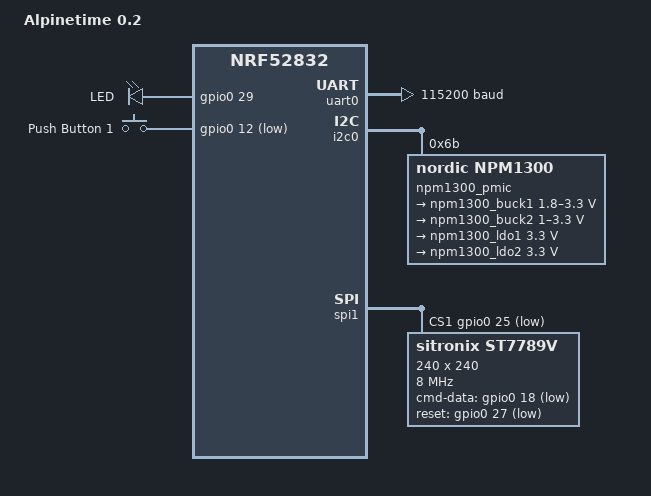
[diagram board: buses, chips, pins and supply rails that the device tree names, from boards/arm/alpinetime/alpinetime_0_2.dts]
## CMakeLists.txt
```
# SPDX-License-Identifier: Apache-2.0

cmake_minimum_required(VERSION 3.20.0)
list(APPEND BOARD_ROOT ${CMAKE_CURRENT_SOURCE_DIR})
find_package(Zephyr REQUIRED HINTS $ENV{ZEPHYR_BASE})
project(lvgl)

FILE(GLOB app_sources src/*.c)
target_sources(app PRIVATE ${app_sources})
```

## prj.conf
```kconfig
CONFIG_LV_Z_MEM_POOL_SIZE=16384
CONFIG_LV_Z_SHELL=y
CONFIG_MAIN_STACK_SIZE=2048

CONFIG_DISPLAY=y
CONFIG_DISPLAY_LOG_LEVEL_ERR=y

CONFIG_LOG=y
CONFIG_SHELL=y

CONFIG_LVGL=y
CONFIG_LV_MEM_CUSTOM=y
CONFIG_LV_USE_LOG=y
CONFIG_LV_USE_LABEL=y
CONFIG_LV_USE_BTN=y
CONFIG_LV_USE_ARC=y
CONFIG_LV_USE_IMG=y
CONFIG_LV_USE_MONKEY=y
CONFIG_LV_FONT_MONTSERRAT_14=y

CONFIG_I2C=y
CONFIG_GPIO=y
CONFIG_REGULATOR=y
CONFIG_REGULATOR_NPM1300=y
```

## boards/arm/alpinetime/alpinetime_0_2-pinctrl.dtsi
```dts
&pinctrl {
	uart0_default: uart0_default {
		group1 {
			psels = <NRF_PSEL(UART_TX, 0, 20)>,
				<NRF_PSEL(UART_RX, 0, 22)>;
		};
	};

	uart0_sleep: uart0_sleep {
		group1 {
			psels = <NRF_PSEL(UART_TX, 0, 20)>,
				<NRF_PSEL(UART_RX, 0, 22)>;
			low-power-enable;
		};
	};

	i2c0_default: i2c0_default {
		group1 {
			psels = <NRF_PSEL(TWIM_SDA, 0, 6)>,
				<NRF_PSEL(TWIM_SCL, 0, 7)>;
		};
	};

	i2c0_sleep: i2c0_sleep {
		group1 {
			psels = <NRF_PSEL(TWIM_SDA, 0, 6)>,
				<NRF_PSEL(TWIM_SCL, 0, 7)>;
			low-power-enable;
		};
	};

	spi1_default: spi1_default {
		group1 {
			psels = <NRF_PSEL(SPIM_SCK, 0, 2)>,
				<NRF_PSEL(SPIM_MOSI, 0, 3)>,
				<NRF_PSEL(SPIM_MISO, 0, 4)>;
		};
	};

	spi1_sleep: spi1_sleep {
		group1 {
			psels = <NRF_PSEL(SPIM_SCK, 0, 2)>,
				<NRF_PSEL(SPIM_MOSI, 0, 3)>,
				<NRF_PSEL(SPIM_MISO, 0, 4)>;
			low-power-enable;
		};
	};
};
```

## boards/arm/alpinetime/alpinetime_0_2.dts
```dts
/dts-v1/;
#include <nordic/nrf52832_qfaa.dtsi>
#include <dt-bindings/regulator/npm1300.h>
#include "alpinetime_0_2-pinctrl.dtsi"
#include <zephyr/dt-bindings/input/input-event-codes.h>

/ {
	model = "Alpinetime 0.2";
	compatible = "oshw,alpinetime_0_2";

	chosen {
		zephyr,console = &uart0;
		zephyr,shell-uart = &uart0;
		zephyr,bt-mon-uart = &uart0;
		zephyr,bt-c2h-uart = &uart0;
		zephyr,sram = &sram0;
		zephyr,flash = &flash0;
		zephyr,code-partition = &slot0_partition;
		zephyr,display = &st7789v;
	};

	leds {
		compatible = "gpio-leds";
		led0: led_0 {
			gpios = <&gpio0 29 0>;
			label = "LED";
		};
	};

	buttons {
		compatible = "gpio-keys";
		button0: button_0 {
			gpios = <&gpio0 12 (GPIO_PULL_UP | GPIO_ACTIVE_LOW)>;
			label = "Push Button 1";
			zephyr,code = <INPUT_KEY_0>;
		};
	};

	aliases {
		led0 = &led0;
		sw0 = &button0;
		bootloader-led0 = &led0;
		mcuboot-button0 = &button0;
		mcuboot-led0 = &led0;
	};
};

&gpiote {
	status = "okay";
};

&gpio0 {
	status = "okay";
};

&uart0 {
	compatible = "nordic,nrf-uart";
	current-speed = <115200>;
	status = "okay";
	pinctrl-0 = <&uart0_default>;
	pinctrl-1 = <&uart0_sleep>;
	pinctrl-names = "default", "sleep";
};

&i2c0 {
	compatible = "nordic,nrf-twim";
	status = "okay";
	pinctrl-0 = <&i2c0_default>;
	pinctrl-1 = <&i2c0_sleep>;
	pinctrl-names = "default", "sleep";

	npm1300_pmic: pmic@6b {
		compatible = "nordic,npm1300";
		reg = <0x6b>;

		npm1300_regulators: regulators {
			compatible = "nordic,npm1300-regulator";

			/* limits are set to min/max allowed values */
			npm1300_buck1: BUCK1 {
				regulator-min-microvolt = <1800000>;
				regulator-max-microvolt = <3300000>;
				regulator-init-microvolt = <1800000>;
				regulator-always-on;
			};

			npm1300_buck2: BUCK2 {
				regulator-min-microvolt = <1000000>;
				regulator-max-microvolt = <3300000>;
				regulator-init-microvolt = <2800000>;
				retention-microvolt = <2500000>;
			};

			npm1300_ldo1: LDO1 {
				regulator-min-microvolt = <0000000>;
				regulator-max-microvolt = <3300000>;
				regulator-init-microvolt = <3000000>;
				regulator-initial-mode = <NPM1300_LDSW_MODE_LDO>;
			};

			npm1300_ldo2: LDO2 {
				regulator-min-microvolt = <0000000>;
				regulator-max-microvolt = <3300000>;
				regulator-init-microvolt = <3300000>;
				regulator-initial-mode = <NPM1300_LDSW_MODE_LDO>;
			};
		};

		npm1300_charger: charger {
			compatible = "nordic,npm1300-charger";
			term-microvolt = <4150000>;
			term-warm-microvolt = <4000000>;
			current-microamp = <150000>;
			dischg-limit-microamp = <1000000>;
			vbus-limit-microamp = <500000>;
			thermistor-ohms = <10000>;
			thermistor-beta = <3380>;
			charging-enable;
		};
	};
};

&spi1 {
	compatible = "nordic,nrf-spi";
	status = "okay";

	cs-gpios = <&gpio0 5 GPIO_ACTIVE_LOW>, <&gpio0 25 GPIO_ACTIVE_LOW>;

	pinctrl-0 = <&spi1_default>;
	pinctrl-1 = <&spi1_sleep>;
	pinctrl-names = "default", "sleep";

	/* Sitronix ST7789V LCD */
	st7789v: st7789v@1 {
		compatible = "sitronix,st7789v";
		reg = <1>;
		spi-max-frequency = <8000000>; /* 8MHz */
		cmd-data-gpios = <&gpio0 18 GPIO_ACTIVE_LOW>;	/* DET */
		reset-gpios = <&gpio0 27 GPIO_ACTIVE_LOW>;	/* RESX reset */
		width = <240>;
		height = <240>;
		x-offset = <0>;
		y-offset = <0>;
		vcom = <0x19>;
		gctrl = <0x35>;
		vrhs = <0x12>;
		vdvs = <0x20>;
		mdac = <0x00>;
		gamma = <0x01>;
		colmod = <0x05>;
		lcm = <0x2c>;
		porch-param = [0c 0c 00 33 33];
		cmd2en-param = [5a 69 02 01];
		pwctrl1-param = [a4 a1];
		pvgam-param = [D0 04 0D 11 13 2B 3F 54 4C 18 0D 0B 1F 23];
		nvgam-param = [D0 04 0C 11 13 2C 3F 44 51 2F 1F 1F 20 23];
		ram-param = [00 F0];
		rgb-param = [CD 08 14];
	};
};

&flash0 {

	partitions {
		compatible = "fixed-partitions";
		#address-cells = <1>;
		#size-cells = <1>;

		boot_partition: partition@0 {
			label = "mcuboot";
			reg = <0x00000000 0x8000>;
		};
		slot0_partition: partition@8000 {
			label = "image-0";
			reg = <0x00008000 0x34000>;
		};
		slot1_partition: partition@3c000 {
			label = "image-1";
			reg = <0x0003c000 0x34000>;
		};
		scratch_partition: partition@70000 {
			label = "image-scratch";
			reg = <0x00070000 0xa000>;
		};

		/*
		 * The flash starting at 0x0007a000 and ending at
		 * 0x0007ffff (sectors 122-127) is reserved for use
		 * by the application.
		 * Storage partition will be used by FCB/LittleFS/NVS
		 * if enabled.
		 */
		storage_partition: partition@7a000 {
			label = "storage";
			reg = <0x0007a000 0x00006000>;
		};
	};
};
```

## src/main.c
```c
/*
 * Copyright (c) 2018 Jan Van Winkel <jan.van_winkel@dxplore.eu>
 *
 * SPDX-License-Identifier: Apache-2.0
 */

#include <zephyr/device.h>
#include <zephyr/devicetree.h>
#include <zephyr/drivers/display.h>
#include <zephyr/drivers/gpio.h>
#include <lvgl.h>
#include <stdio.h>
#include <string.h>
#include <zephyr/kernel.h>
#include <lvgl_input_device.h>

#include <zephyr/drivers/regulator.h>
#include <zephyr/dt-bindings/regulator/npm1300.h>
#include <zephyr/drivers/mfd/npm1300.h>

#define LOG_LEVEL CONFIG_LOG_DEFAULT_LEVEL
#include <zephyr/logging/log.h>
LOG_MODULE_REGISTER(app);

static uint32_t count;

#ifdef CONFIG_GPIO
static struct gpio_dt_spec button_gpio = GPIO_DT_SPEC_GET_OR(
		DT_ALIAS(sw0), gpios, {0});
static struct gpio_callback button_callback;

static void button_isr_callback(const struct device *port,
				struct gpio_callback *cb,
				uint32_t pins)
{
	ARG_UNUSED(port);
	ARG_UNUSED(cb);
	ARG_UNUSED(pins);

	count = 0;
}
#endif /* CONFIG_GPIO */

#ifdef CONFIG_LV_Z_ENCODER_INPUT
static const struct device *lvgl_encoder =
	DEVICE_DT_GET(DT_COMPAT_GET_ANY_STATUS_OKAY(zephyr_lvgl_encoder_input));
#endif /* CONFIG_LV_Z_ENCODER_INPUT */

static void lv_btn_click_callback(lv_event_t *e)
{
	ARG_UNUSED(e);

	count = 0;
}

static const struct device *ldo1 = DEVICE_DT_GET(DT_NODELABEL(npm1300_ldo1));

int main(void)
{

	if (!device_is_ready(ldo1)) {
		printk("Error: Regulator device is not ready\n");
		return 0;
	}

	regulator_set_voltage(ldo1, 3000000, 3000000);
	regulator_enable(ldo1);	
	
	char count_str[11] = {0};
	const struct device *display_dev;
	lv_obj_t *hello_world_label;
	lv_obj_t *count_label;

	display_dev = DEVICE_DT_GET(DT_CHOSEN(zephyr_display));
	if (!device_is_ready(display_dev)) {
		LOG_ERR("Device not ready, aborting test");
		return 0;
	}

#ifdef CONFIG_GPIO
	if (gpio_is_ready_dt(&button_gpio)) {
		int err;

		err = gpio_pin_configure_dt(&button_gpio, GPIO_INPUT);
		if (err) {
			LOG_ERR("failed to configure button gpio: %d", err);
			return 0;
		}

		gpio_init_callback(&button_callback, button_isr_callback,
				   BIT(button_gpio.pin));

		err = gpio_add_callback(button_gpio.port, &button_callback);
		if (err) {
			LOG_ERR("failed to add button callback: %d", err);
			return 0;
		}

		err = gpio_pin_interrupt_configure_dt(&button_gpio,
						      GPIO_INT_EDGE_TO_ACTIVE);
		if (err) {
			LOG_ERR("failed to enable button callback: %d", err);
			return 0;
		}
	}
#endif /* CONFIG_GPIO */

#ifdef CONFIG_LV_Z_ENCODER_INPUT
	lv_obj_t *arc;
	lv_group_t *arc_group;

	arc = lv_arc_create(lv_scr_act());
	lv_obj_align(arc, LV_ALIGN_CENTER, 0, 0);
	lv_obj_set_size(arc, 150, 150);

	arc_group = lv_group_create();
	lv_group_add_obj(arc_group, arc);
	lv_indev_set_group(lvgl_input_get_indev(lvgl_encoder), arc_group);
#endif /* CONFIG_LV_Z_ENCODER_INPUT */

	if (IS_ENABLED(CONFIG_LV_Z_POINTER_KSCAN) || IS_ENABLED(CONFIG_LV_Z_POINTER_INPUT)) {
		lv_obj_t *hello_world_button;

		hello_world_button = lv_btn_create(lv_scr_act());
		lv_obj_align(hello_world_button, LV_ALIGN_CENTER, 0, 0);
		lv_obj_add_event_cb(hello_world_button, lv_btn_click_callback, LV_EVENT_CLICKED,
						NULL);
		hello_world_label = lv_label_create(hello_world_button);
	} else {
		hello_world_label = lv_label_create(lv_scr_act());
	}

	lv_label_set_text(hello_world_label, "Hello world!");
	lv_obj_align(hello_world_label, LV_ALIGN_CENTER, 0, 0);

	count_label = lv_label_create(lv_scr_act());
	lv_obj_align(count_label, LV_ALIGN_BOTTOM_MID, 0, 0);

	lv_task_handler();
	display_blanking_off(display_dev);

	while (1) {
		if ((count % 100) == 0U) {
			sprintf(count_str, "%d", count/100U);
			lv_label_set_text(count_label, count_str);
		}
		lv_task_handler();
		++count;
		k_sleep(K_MSEC(10));
	}
}
```
